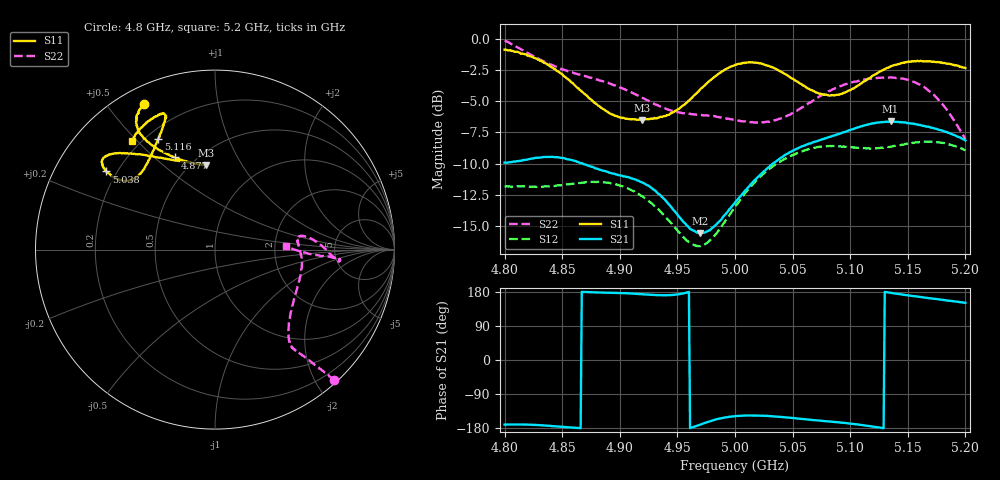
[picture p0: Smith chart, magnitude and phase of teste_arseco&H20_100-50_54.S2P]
! Network Analyzer HP8722D
! Hewlett-Packard
! Data name: Linha & Wilkinson
! Saver's name: Rodrigo Anjos
! Comments: Teste da utilização de aquisição
! continua pelo VNA HP8722D
! Time and date: 6/5/2025 13:01
!  Frequency  S11  S21  S12  S22
# HZ  S  MA R 50
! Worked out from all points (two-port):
!   401 points, 4.8 GHz to 5.2 GHz, reference 50 ohm
!   highest |S21| = -6.62 dB at 5.135 GHz (marker M1); lowest = -15.6 dB at 4.97 GHz (marker M2)
!   |S21| within 3 dB of the highest: 4.822 GHz to 4.853 GHz (30.86 MHz wide, 0.638 % of centre); 5.039 GHz to end of sweep
!   lowest |S11| = -6.5 dB at 4.919 GHz (marker M3), VSWR 2.80, Z = 29.3 + j35.6 ohm
!   |S11| at or under -10 dB: nowhere
!   |S22| runs from -8.0 to -0.1 dB; largest |S21 - S12| = 0.83
!   S11 on the Smith chart (normalised r, x): 4.8 GHz: 0.07, +0.62; 4.877 GHz: 0.39, +0.58; 5.038 GHz: 0.16, +0.31; 5.116 GHz: 0.25, +0.58; 5.2 GHz: 0.17, +0.48
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4.8e9  0.9042 115.9  0.3196 -170.5  0.2567 -86.0  0.9839 -47.5
4.835e9  0.7991 122.6  0.3367 -172.9  0.2567 -76.5  0.8068 -49.8
4.867e9  0.6149 118.0  0.318 179.7  0.2655 -67.2  0.7146 -51.5
4.877e9  0.5602 113.6  0.3064 178.5  0.2675 -66.2  0.6927 -51.7
4.901e9  0.4834 100.8  0.2838 176.6  0.2578 -66.6  0.6365 -49.9
4.919e9  0.4734 96.1  0.2666 173.9  0.2344 -68.6  0.5809 -44.9
4.934e9  0.484 99.1  0.2391 171.0  0.2068 -69.3  0.5383 -37.3
4.949e9  0.5157 108.8  0.2008 172.7  0.1733 -65.9  0.5101 -27.7
4.97e9  0.6294 124.1  0.1665 -170.4  0.1481 -46.4  0.495 -14.3
4.982e9  0.7019 130.5  0.1776 -158.2  0.1626 -32.9  0.4906 -8.2
5e9  0.7856 137.3  0.2211 -148.3  0.2118 -21.3  0.4733 -0.4
5.018e9  0.8015 141.7  0.2742 -146.7  0.2696 -18.2  0.4631 5.9
5.038e9  0.7458 144.3  0.3292 -149.7  0.3205 -18.3  0.4776 8.9
5.067e9  0.6214 142.0  0.3841 -158.1  0.365 -20.5  0.5617 4.6
5.088e9  0.5962 132.9  0.4133 -164.0  0.3708 -23.6  0.6356 -1.7
5.116e9  0.6931 117.1  0.4541 -174.2  0.3645 -26.8  0.6901 -5.4
5.134e9  0.7693 111.3  0.4641 177.8  0.3689 -28.6  0.7003 -4.8
5.135e9  0.7748 111.1  0.4669 177.3  0.37 -28.7  0.7005 -4.7
5.15e9  0.8076 110.5  0.4589 170.7  0.3804 -31.8  0.6846 -4.0
5.164e9  0.8107 113.4  0.4483 164.9  0.3874 -35.9  0.6419 -3.7
5.181e9  0.7992 119.4  0.427 158.4  0.3824 -41.2  0.5407 -2.7
5.2e9  0.7632 127.4  0.3914 150.7  0.3579 -46.2  0.3962 2.5
